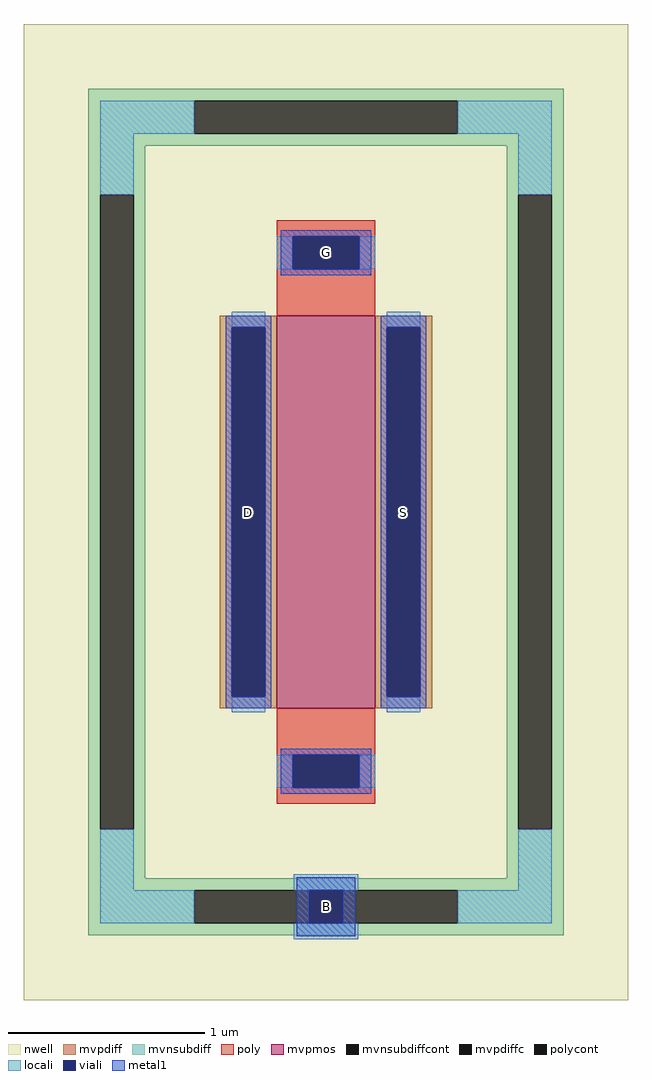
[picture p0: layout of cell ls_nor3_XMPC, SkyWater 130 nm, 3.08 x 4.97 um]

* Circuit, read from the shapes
.subckt ls_nor3_XMPC B D S G
XM1 S G D B sky130_fd_pr__pfet_g5v0d10v5 w=2 l=0.5
.ends

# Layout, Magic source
magic
tech sky130A
magscale 1 2
<< nwell >>
rect -308 -497 308 497
<< mvpmos >>
rect -50 -200 50 200
<< mvpdiff >>
rect -108 188 -50 200
rect -108 -188 -96 188
rect -62 -188 -50 188
rect -108 -200 -50 -188
rect 50 188 108 200
rect 50 -188 62 188
rect 96 -188 108 188
rect 50 -200 108 -188
<< mvpdiffc >>
rect -96 -188 -62 188
rect 62 -188 96 188
<< mvnsubdiff >>
rect -242 419 242 431
rect -242 385 -134 419
rect 134 385 242 419
rect -242 373 242 385
rect -242 323 -184 373
rect -242 -323 -230 323
rect -196 -323 -184 323
rect 184 323 242 373
rect -242 -373 -184 -323
rect 184 -323 196 323
rect 230 -323 242 323
rect 184 -373 242 -323
rect -242 -385 242 -373
rect -242 -419 -134 -385
rect 134 -419 242 -385
rect -242 -431 242 -419
<< mvnsubdiffcont >>
rect -134 385 134 419
rect -230 -323 -196 323
rect 196 -323 230 323
rect -134 -419 134 -385
<< poly >>
rect -50 281 50 297
rect -50 247 -34 281
rect 34 247 50 281
rect -50 200 50 247
rect -50 -247 50 -200
rect -50 -281 -34 -247
rect 34 -281 50 -247
rect -50 -297 50 -281
<< polycont >>
rect -34 247 34 281
rect -34 -281 34 -247
<< locali >>
rect -230 385 -134 419
rect 134 385 230 419
rect -230 323 -196 385
rect 196 323 230 385
rect -50 247 -34 281
rect 34 247 50 281
rect -96 188 -62 204
rect -96 -204 -62 -188
rect 62 188 96 204
rect 62 -204 96 -188
rect -50 -281 -34 -247
rect 34 -281 50 -247
rect -230 -385 -196 -323
rect -33 -385 33 -369
rect 196 -385 230 -323
rect -230 -419 -134 -385
rect 134 -419 230 -385
rect -33 -435 33 -419
<< viali >>
rect -34 247 34 281
rect -96 -188 -62 188
rect 62 -188 96 188
rect -34 -281 34 -247
rect -17 -419 17 -385
<< metal1 >>
rect -46 281 46 287
rect -46 247 -34 281
rect 34 247 46 281
rect -46 241 46 247
rect -102 188 -56 200
rect -102 -188 -96 188
rect -62 -188 -56 188
rect -102 -200 -56 -188
rect 56 188 102 200
rect 56 -188 62 188
rect 96 -188 102 188
rect 56 -200 102 -188
rect -46 -247 46 -241
rect -46 -281 -34 -247
rect 34 -281 46 -247
rect -46 -287 46 -281
rect -30 -385 30 -372
rect -30 -419 -17 -385
rect 17 -419 30 -385
rect -30 -432 30 -419
<< labels >>
rlabel mvnsubdiffcont 0 -402 0 -402 0 B
port 4 nsew
rlabel mvpdiffc -79 0 -79 0 0 D
port 5 nsew
rlabel mvpdiffc 79 0 79 0 0 S
port 6 nsew
rlabel polycont 0 264 0 264 0 G
port 7 nsew
<< properties >>
string FIXED_BBOX -213 -402 213 402
<< end >>
